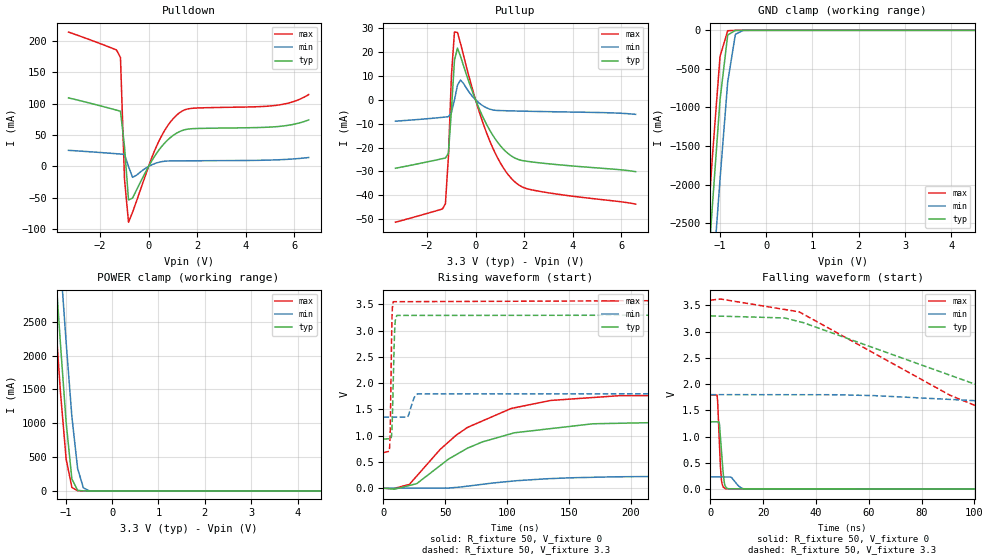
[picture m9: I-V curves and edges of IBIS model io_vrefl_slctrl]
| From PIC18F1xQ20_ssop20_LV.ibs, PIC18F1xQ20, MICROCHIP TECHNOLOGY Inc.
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[Model] io_vrefl_slctrl
Model_type I/O
Vinl  =  0.8
Vinh  =  2
| Capacitance   typ   min   max
C_comp   6.136036966243662e-12   6.099198040904662e-12   6.534334017376944e-12
[Model Spec]
| Subparameter   typ   min   max
Vinl   1.5   0.81   1.65
Vinh   3.6   1.89   3.85
Vmeas   2.5   1.35   2.75
| Variables   typ   min   max
[GND Clamp Reference]   0   0   0
[POWER Clamp Reference]   3.3   1.8   3.6
[Pulldown Reference]   0   0   0
[Pullup Reference]   3.3   1.8   3.6
[Temperature Range]   25   125   -40
[Voltage Range]   3.3   1.8   3.6
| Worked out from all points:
|   slope of the pulldown table from 0 to 0.495 V, typ, clamps not added: 16.7 ohm
|   slope of the pullup table from 0 to 0.495 V, typ, clamps not added: 44.8 ohm
|   GND clamp passes 1 mA (typ) near -0.65 V on its own axis
|   POWER clamp passes 1 mA (typ) near -0.62 V on its own axis
|   falling waveform, R_fixture 50, V_fixture 0: 20-80 % time 1.19ns typ, 2.45ns min, 961ps max; typ from 1.28 V to 0 V
|   falling waveform, R_fixture 50, V_fixture 3.3: 20-80 % time 93.6ns typ, 139ns min, 69.8ns max; typ from 3.3 V to 0.939 V
|   rising waveform, R_fixture 50, V_fixture 0: 20-80 % time 65.1ns typ, 68ns min, 63.5ns max; typ from 0 V to 1.28 V
|   rising waveform, R_fixture 50, V_fixture 3.3: 20-80 % time 1.53ns typ, 3.71ns min, 1.1ns max; typ from 0.936 V to 3.3 V
[GND Clamp]
| Voltage   I(typ)   I(min)   I(max)
-3.3V     -20.71A    -20.94A    -20.62A
-1.324V   -3.7A      -4.646A    -3.106A
-1.159V   -2.282A    -3.287A    -1.646A
-993.1mV  -901.5mA   -1.932A    -339.4mA
-827.6mV  -60.7mA    -671.4mA   -4.911mA
-662.1mV  -1.049mA   -52.57mA   -611.6uA
-496.6mV  -24.56uA   -897.2uA   -6.715uA
6.6V      0A         0A         0A
[POWER Clamp]
| Voltage   I(typ)   I(min)   I(max)
-3.3V     24.42A     24.89A     24.19A
-1.366V   4.707A     5.832A     4.013A
-1.241V   3.448A     4.615A     2.725A
-1.117V   2.193A     3.4A       1.478A
-993.1mV  1.014A     2.2A       471.6mA
-869mV    177.7mA    1.1A       51.38mA
-744.8mV  7.757mA    330.9mA    3.34mA
-620.7mV  800.3uA    45.3mA     913.4uA
-496.6mV  59.12uA    2.734mA    100.9uA
6.6V      0A         0A         0A
[Pulldown]
| Voltage   I(typ)   I(min)   I(max)
-3.3V     109.4mA    25.68mA    214.5mA
-1.324V   89.88mA    20.27mA    185.9mA
-1.159V   88.12mA    19.77mA    173.8mA
-993.1mV  31.88mA    19.25mA    -20.25mA
-827.6mV  -53.52mA   -38.8uA    -89.02mA
-662.1mV  -50.57mA   -17.43mA   -73.42mA
341.4mV   21.7mA     5.717mA    33.47mA
796.6mV   42.57mA    8.672mA    65.49mA
1.252V    55.15mA    8.913mA    85mA
1.821V    60.27mA    9.023mA    92.84mA
5.286V    63.53mA    10.51mA    97.64mA
6.6V      74.28mA    14.23mA    114.7mA
[Pullup]
| Voltage   I(typ)   I(min)   I(max)
-3.3V     -28.7mA    -8.944mA   -51.33mA
-1.241V   -24.41mA   -7.2mA     -43.58mA
-1.117V   -22.37mA   -7.062mA   -23.61mA
-993.1mV  -4.232mA   -5.311mA   10.35mA
-869mV    16.64mA    -60.75uA   28.44mA
-744.8mV  21.75mA    6.171mA    28.29mA
-620.7mV  18.28mA    8.311mA    23.71mA
455.2mV   -10.29mA   -3.355mA   -13.89mA
1.024V    -19.27mA   -4.499mA   -26.48mA
1.593V    -24.26mA   -4.657mA   -34.17mA
2.503V    -26.27mA   -4.856mA   -38.14mA
6.6V      -30.13mA   -6.092mA   -43.74mA
[Ramp]
dV/dt_r   0.768802/65.1493n  0.139526/68.0019n  1.07649/63.5034n
dV/dt_f   1.41632/93.5743n  0.266589/0.139269u  1.75185/69.8262n
R_load = 50
[Falling Waveform]
R_fixture = 50
V_fixture = 0
V_fixture_min = 0
V_fixture_max = 0
| Time   V(typ)   V(min)   V(max)
0s        1.281V     232.5mV    1.794V
2.51ns    1.282V     232.4mV    1.79V
2.734ns   1.282V     232.3mV    1.669V
3.419ns   1.238V     232.3mV    854mV
3.816ns   971.6mV    232.2mV    407.6mV
4.197ns   716mV      232.2mV    162.6mV
4.927ns   252.9mV    232.2mV    35.15mV
5.732ns   50.13mV    232.1mV    7.944mV
14.91ns   6.307mV    646.8uV    7.813mV
562.5ns   570.5nV    801.2nV    444.4nV
[Falling Waveform]
R_fixture = 50
V_fixture = 3.3
V_fixture_min = 1.8
V_fixture_max = 3.6
| Time   V(typ)   V(min)   V(max)
0s        3.3V       1.8V       3.6V
28.12ns   3.26V      1.799V     3.422V
33.61ns   3.191V     1.799V     3.377V
90.78ns   2.17V      1.709V     1.789V
118.5ns   1.751V     1.639V     1.222V
145.5ns   1.435V     1.571V     958.5mV
170.7ns   1.239V     1.523V     871.1mV
226.2ns   1.067V     1.447V     766.8mV
337.4ns   971.3mV    1.382V     728.5mV
562.5ns   939.5mV    1.356V     680.3mV
[Rising Waveform]
R_fixture = 50
V_fixture = 0
V_fixture_min = 0
V_fixture_max = 0
| Time   V(typ)   V(min)   V(max)
0s        -41.08pV   18.74nV    -61.89pV
20.88ns   51.72mV    1.636mV    71.05mV
26.96ns   87.87mV    2.111mV    233.6mV
45.96ns   433.8mV    3.599mV    742.2mV
67.93ns   762.1mV    39.23mV    1.157V
103.2ns   1.038V     132.9mV    1.518V
135.3ns   1.135V     183mV      1.671V
169.2ns   1.226V     207.7mV    1.726V
280.4ns   1.277V     229.9mV    1.769V
562.5ns   1.281V     232.5mV    1.794V
[Rising Waveform]
R_fixture = 50
V_fixture = 3.3
V_fixture_min = 1.8
V_fixture_max = 3.6
| Time   V(typ)   V(min)   V(max)
0s        936.3mV    1.353V     678.2mV
5.009ns   941.5mV    1.353V     794.9mV
5.508ns   942mV      1.353V     1.146V
6.927ns   1.168V     1.353V     3.284V
7.819ns   1.953V     1.353V     3.55V
8.951ns   2.959V     1.353V     3.55V
10.76ns   3.288V     1.354V     3.55V
19.24ns   3.288V     1.354V     3.551V
27.7ns    3.289V     1.796V     3.551V
562.5ns   3.3V       1.8V       3.6V
